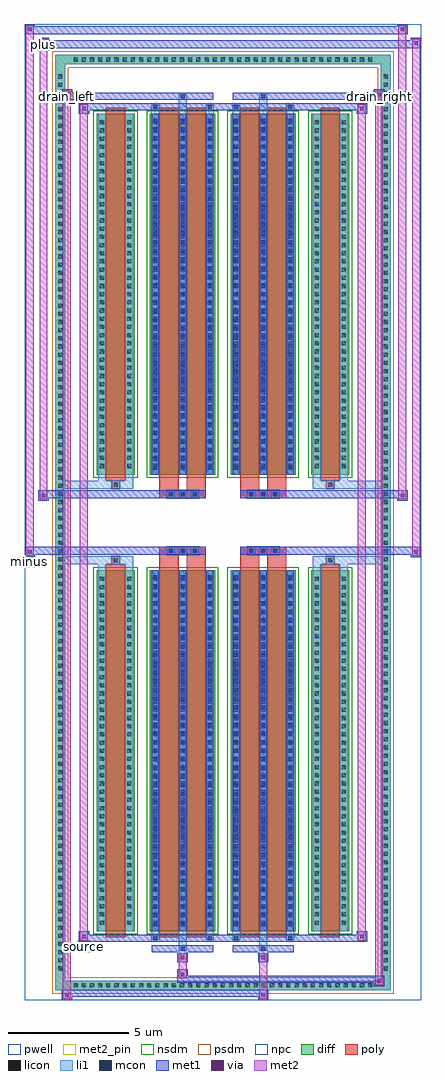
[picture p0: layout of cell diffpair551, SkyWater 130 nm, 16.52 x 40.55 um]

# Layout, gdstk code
import gdstk
lib = gdstk.Library(unit=1e-6, precision=5e-09)
def R(c, l, rs):  # rectangles x0, y0, x1, y1
    for r in rs: c.add(gdstk.rectangle(r[:2], r[2:], *l))
def A(c, l, x, y, w, h, nx, ny, dx, dy):  # array of equal rectangles
    R(c, l, [(x+i*dx, y+j*dy, x+i*dx+w, y+j*dy+h) for i in range(nx) for j in range(ny)])
def P(c, l, *ps):  # polygons
    for p in ps: c.add(gdstk.Polygon(p, *l))
pwell = (64, 44)
diff = (65, 20)
poly = (66, 20)
licon = (66, 44)
li1 = (67, 20)
mcon = (67, 44)
met1 = (68, 20)
via = (68, 44)
met2_pin = (69, 16)
met2 = (69, 20)
nsdm = (93, 44)
psdm = (94, 20)
npc = (95, 20)

diffpair551 = lib.new_cell('diffpair551')
R(diffpair551, pwell, [(-8.24,-19.84,8.24,20.71), (-5.56,-18.03,-0.01,-0.805), (0.01,-18.03,5.56,-0.805), (-5.56,0.805,-0.01,18.03), (0.01,0.805,5.56,18.03)])
A(diffpair551, diff, -6.325, -19.44, 0.41, 0.41, 37, 2, 0.34, 38.47)
A(diffpair551, diff, -6.97, -18.735, 0.41, 0.41, 1, 110, 0, 0.34)
A(diffpair551, diff, 6.56, -18.735, 0.41, 0.41, 1, 110, 0, 0.34)
R(diffpair551, diff, [(-6.325,-19.44,6.325,-19.03), (-6.97,-18.735,-6.56,18.735), (6.56,-18.735,6.97,18.735), (-5.25,-16.985,-3.67,-1.985), (-3.03,-16.985,-0.32,-1.985), (0.32,-16.985,3.03,-1.985), (3.67,-16.985,5.25,-1.985), (-5.25,1.985,-3.67,16.985), (-3.03,1.985,-0.32,16.985), (0.32,1.985,3.03,16.985), (3.67,1.985,5.25,16.985), (-6.325,19.03,6.325,19.44)])
P(diffpair551, diff, [(6.97,19.44),(-6.97,19.44),(-6.97,-19.03),(-6.56,-19.03),(-6.56,19.03),(6.56,19.03),(6.56,-19.03),(-6.56,-19.03),(-6.97,-19.03),(-6.97,-19.44),(6.97,-19.44)])
A(diffpair551, poly, -2.34, -1.335, 0.33, 0.33, 3, 2, 0.5, 2.34)
A(diffpair551, poly, 1.01, -1.335, 0.33, 0.33, 3, 2, 0.5, 2.34)
R(diffpair551, poly, [(-4.86,-17.235,-4.06,-1.735), (-2.64,-17.235,-1.84,-1.735), (-1.51,-17.235,-0.71,-1.735), (0.71,-17.235,1.51,-1.735), (1.84,-17.235,2.64,-1.735), (4.06,-17.235,4.86,-1.735), (-4.625,-1.735,-4.295,-1.405), (-4.625,-1.735,-4.295,-1.405), (-2.64,-1.735,-1.84,-1.335), (-1.51,-1.735,-0.71,-1.335), (0.71,-1.735,1.51,-1.335), (1.84,-1.735,2.64,-1.335), (4.295,-1.735,4.625,-1.405), (4.295,-1.735,4.625,-1.405), (-2.64,-1.335,-0.71,-1.005), (0.71,-1.335,2.64,-1.005), (-2.64,1.005,-0.71,1.335), (0.71,1.005,2.64,1.335), (-2.64,1.335,-1.84,1.735), (-1.51,1.335,-0.71,1.735), (0.71,1.335,1.51,1.735), (1.84,1.335,2.64,1.735), (-4.625,1.405,-4.295,1.735), (-4.625,1.405,-4.295,1.735), (4.295,1.405,4.625,1.735), (4.295,1.405,4.625,1.735), (-4.86,1.735,-4.06,17.235), (-2.64,1.735,-1.84,17.235), (-1.51,1.735,-0.71,17.235), (0.71,1.735,1.51,17.235), (1.84,1.735,2.64,17.235), (4.06,1.735,4.86,17.235)])
A(diffpair551, licon, -6.205, -19.32, 0.17, 0.17, 37, 2, 0.34, 38.47)
A(diffpair551, licon, -6.85, -18.615, 0.17, 0.17, 1, 110, 0, 0.34)
A(diffpair551, licon, 6.68, -18.615, 0.17, 0.17, 1, 110, 0, 0.34)
A(diffpair551, licon, -5.11, -16.71, 0.17, 0.17, 1, 43, 0, 0.34)
A(diffpair551, licon, -3.98, -16.71, 0.17, 0.17, 1, 43, 0, 0.34)
A(diffpair551, licon, -2.89, -16.71, 0.17, 0.17, 3, 43, 1.13, 0.34)
A(diffpair551, licon, 0.46, -16.71, 0.17, 0.17, 3, 43, 1.13, 0.34)
A(diffpair551, licon, 3.81, -16.71, 0.17, 0.17, 1, 43, 0, 0.34)
A(diffpair551, licon, 4.94, -16.71, 0.17, 0.17, 1, 43, 0, 0.34)
A(diffpair551, licon, -2.26, -1.255, 0.17, 0.17, 3, 2, 0.5, 2.34)
A(diffpair551, licon, 1.09, -1.255, 0.17, 0.17, 3, 2, 0.5, 2.34)
A(diffpair551, licon, -5.11, 2.26, 0.17, 0.17, 1, 43, 0, 0.34)
A(diffpair551, licon, -3.98, 2.26, 0.17, 0.17, 1, 43, 0, 0.34)
A(diffpair551, licon, -2.89, 2.26, 0.17, 0.17, 3, 43, 1.13, 0.34)
A(diffpair551, licon, 0.46, 2.26, 0.17, 0.17, 3, 43, 1.13, 0.34)
A(diffpair551, licon, 3.81, 2.26, 0.17, 0.17, 1, 43, 0, 0.34)
A(diffpair551, licon, 4.94, 2.26, 0.17, 0.17, 1, 43, 0, 0.34)
R(diffpair551, licon, [(-4.545,-1.655,-4.375,-1.485), (4.375,-1.655,4.545,-1.485), (-4.545,1.485,-4.375,1.655), (4.375,1.485,4.545,1.655)])
A(diffpair551, li1, -6.285, -19.4, 0.33, 0.33, 37, 2, 0.34, 38.47)
A(diffpair551, li1, -6.93, -18.695, 0.33, 0.33, 1, 110, 0, 0.34)
A(diffpair551, li1, 6.6, -18.695, 0.33, 0.33, 1, 110, 0, 0.34)
A(diffpair551, li1, -2.97, -16.985, 0.33, 15, 3, 2, 1.13, 18.97)
A(diffpair551, li1, 0.38, -16.985, 0.33, 15, 3, 2, 1.13, 18.97)
A(diffpair551, li1, -5.19, -16.79, 0.33, 0.33, 1, 43, 0, 0.34)
A(diffpair551, li1, -4.06, -16.79, 0.33, 0.33, 1, 43, 0, 0.34)
A(diffpair551, li1, -2.97, -16.79, 0.33, 0.33, 3, 43, 1.13, 0.34)
A(diffpair551, li1, 0.38, -16.79, 0.33, 0.33, 3, 43, 1.13, 0.34)
A(diffpair551, li1, 3.73, -16.79, 0.33, 0.33, 1, 43, 0, 0.34)
A(diffpair551, li1, 4.86, -16.79, 0.33, 0.33, 1, 43, 0, 0.34)
A(diffpair551, li1, -2.89, -16.77, 0.17, 0.17, 3, 41, 1.13, 0.36)
A(diffpair551, li1, -2.89, -16.77, 0.17, 14.57, 3, 2, 1.13, 18.97)
A(diffpair551, li1, 0.46, -16.77, 0.17, 0.17, 3, 41, 1.13, 0.36)
A(diffpair551, li1, 0.46, -16.77, 0.17, 14.57, 3, 2, 1.13, 18.97)
A(diffpair551, li1, -2.34, -1.335, 0.33, 0.33, 3, 2, 0.5, 2.34)
A(diffpair551, li1, 1.01, -1.335, 0.33, 0.33, 3, 2, 0.5, 2.34)
A(diffpair551, li1, -5.19, 2.18, 0.33, 0.33, 1, 43, 0, 0.34)
A(diffpair551, li1, -4.06, 2.18, 0.33, 0.33, 1, 43, 0, 0.34)
A(diffpair551, li1, -2.97, 2.18, 0.33, 0.33, 3, 43, 1.13, 0.34)
A(diffpair551, li1, 0.38, 2.18, 0.33, 0.33, 3, 43, 1.13, 0.34)
A(diffpair551, li1, 3.73, 2.18, 0.33, 0.33, 1, 43, 0, 0.34)
A(diffpair551, li1, 4.86, 2.18, 0.33, 0.33, 1, 43, 0, 0.34)
A(diffpair551, li1, -2.89, 2.2, 0.17, 0.17, 3, 41, 1.13, 0.36)
A(diffpair551, li1, 0.46, 2.2, 0.17, 0.17, 3, 41, 1.13, 0.36)
R(diffpair551, li1, [(-6.97,-19.44,-6.56,-19.03), (-6.97,-19.44,-6.56,-19.03), (-6.56,-19.44,6.56,-19.03), (6.56,-19.44,6.97,-19.03), (6.56,-19.44,6.97,-19.03), (-6.97,-19.03,-6.56,19.03), (6.56,-19.03,6.97,19.03), (-1.84,-17.79,-1.51,-16.985), (-1.76,-17.79,-1.59,-17.62), (1.51,-17.79,1.84,-16.985), (1.59,-17.79,1.76,-17.62), (-2.97,-17.36,-2.64,-16.985), (-2.89,-17.36,-2.72,-17.19), (-0.71,-17.36,-0.38,-16.985), (-0.63,-17.36,-0.46,-17.19), (0.38,-17.36,0.71,-16.985), (0.46,-17.36,0.63,-17.19), (2.64,-17.36,2.97,-16.985), (2.72,-17.36,2.89,-17.19), (-5.19,-16.985,-4.86,-1.985), (-4.06,-16.985,-3.73,-1.985), (3.73,-16.985,4.06,-1.985), (4.86,-16.985,5.19,-1.985), (-5.19,-1.985,-4.86,-1.405), (-4.06,-1.985,-3.73,-1.405), (3.73,-1.985,4.06,-1.405), (4.86,-1.985,5.19,-1.405), (-6.97,-1.735,-4.625,-1.405), (-5.19,-1.735,-4.625,-1.405), (-4.625,-1.735,-4.295,-1.405), (-4.295,-1.735,-3.73,-1.405), (3.73,-1.735,4.295,-1.405), (4.295,-1.735,4.625,-1.405), (4.295,-1.735,6.97,-1.405), (4.625,-1.735,5.19,-1.405), (-6.97,1.405,-4.625,1.735), (-5.19,1.405,-4.625,1.735), (-5.19,1.405,-4.86,1.985), (-4.625,1.405,-4.295,1.735), (-4.295,1.405,-3.73,1.735), (-4.06,1.405,-3.73,1.985), (3.73,1.405,4.295,1.735), (3.73,1.405,4.06,1.985), (4.295,1.405,4.625,1.735), (4.295,1.405,6.97,1.735), (4.625,1.405,5.19,1.735), (4.86,1.405,5.19,1.985), (-5.19,1.985,-4.86,16.985), (-4.06,1.985,-3.73,16.985), (3.73,1.985,4.06,16.985), (4.86,1.985,5.19,16.985), (-2.97,16.985,-2.64,17.36), (-1.84,16.985,-1.51,17.79), (-0.71,16.985,-0.38,17.36), (0.38,16.985,0.71,17.36), (1.51,16.985,1.84,17.79), (2.64,16.985,2.97,17.36), (-2.89,17.19,-2.72,17.36), (-0.63,17.19,-0.46,17.36), (0.46,17.19,0.63,17.36), (2.72,17.19,2.89,17.36), (-1.76,17.62,-1.59,17.79), (1.59,17.62,1.76,17.79), (-6.97,19.03,-6.56,19.44), (-6.97,19.03,-6.56,19.44), (-6.56,19.03,6.56,19.44), (6.56,19.03,6.97,19.44), (6.56,19.03,6.97,19.44)])
A(diffpair551, mcon, -2.89, -16.77, 0.17, 0.17, 3, 41, 1.13, 0.36)
A(diffpair551, mcon, 0.46, -16.77, 0.17, 0.17, 3, 41, 1.13, 0.36)
A(diffpair551, mcon, -2.26, -1.255, 0.17, 0.17, 3, 2, 0.5, 2.34)
A(diffpair551, mcon, 1.09, -1.255, 0.17, 0.17, 3, 2, 0.5, 2.34)
A(diffpair551, mcon, -2.89, 2.2, 0.17, 0.17, 3, 41, 1.13, 0.36)
A(diffpair551, mcon, 0.46, 2.2, 0.17, 0.17, 3, 41, 1.13, 0.36)
R(diffpair551, mcon, [(-1.76,-17.79,-1.59,-17.62), (1.59,-17.79,1.76,-17.62), (-2.89,-17.36,-2.72,-17.19), (-0.63,-17.36,-0.46,-17.19), (0.46,-17.36,0.63,-17.19), (2.72,-17.36,2.89,-17.19), (-2.89,17.19,-2.72,17.36), (-0.63,17.19,-0.46,17.36), (0.46,17.19,0.63,17.36), (2.72,17.19,2.89,17.36), (-1.76,17.62,-1.59,17.79), (1.59,17.62,1.76,17.79)])
A(diffpair551, met1, -2.95, -16.985, 0.29, 15, 3, 2, 1.13, 18.97)
A(diffpair551, met1, 0.4, -16.985, 0.29, 15, 3, 2, 1.13, 18.97)
A(diffpair551, met1, -2.95, -16.83, 0.29, 0.29, 3, 41, 1.13, 0.36)
A(diffpair551, met1, 0.4, -16.83, 0.29, 0.29, 3, 41, 1.13, 0.36)
A(diffpair551, met1, -2.32, -1.315, 0.29, 0.29, 3, 2, 0.5, 2.34)
A(diffpair551, met1, 1.03, -1.315, 0.29, 0.29, 3, 2, 0.5, 2.34)
A(diffpair551, met1, -2.95, 2.14, 0.29, 0.29, 3, 41, 1.13, 0.36)
A(diffpair551, met1, 0.4, 2.14, 0.29, 0.29, 3, 41, 1.13, 0.36)
R(diffpair551, met1, [(-6.7,-19.84,-6.27,-19.41), (1.46,-19.84,1.89,-19.41), (-6.7,-19.7,1.89,-19.41), (6.27,-19.27,6.7,-18.84), (-1.89,-19.13,6.7,-18.84), (-1.89,-18.99,-1.46,-18.56), (-1.89,-18.28,-1.46,-17.85), (1.46,-18.28,1.89,-17.85), (-2.95,-17.85,-0.4,-17.56), (-1.82,-17.85,-1.53,-17.56), (0.4,-17.85,2.95,-17.56), (1.53,-17.85,1.82,-17.56), (-5.99,-17.42,-5.56,-16.99), (-5.99,-17.42,-2.95,-17.13), (-2.95,-17.42,-2.66,-17.13), (-2.95,-17.42,-0.4,-17.13), (-0.69,-17.42,-0.4,-17.13), (-0.4,-17.42,0.4,-17.13), (0.4,-17.42,0.69,-17.13), (0.4,-17.42,2.95,-17.13), (2.66,-17.42,2.95,-17.13), (2.95,-17.42,5.99,-17.13), (5.56,-17.42,5.99,-16.99), (-8.24,-1.435,-7.81,-1.005), (7.81,-1.435,8.24,-1.005), (-8.24,-1.335,-0.71,-1.005), (-2.64,-1.335,-0.71,-1.005), (0.71,-1.335,2.64,-1.005), (0.71,-1.335,8.24,-1.005), (-7.67,0.905,-7.24,1.335), (7.24,0.905,7.67,1.335), (-7.67,1.005,-2.64,1.335), (-2.64,1.005,-0.71,1.335), (0.71,1.005,2.64,1.335), (2.64,1.005,7.67,1.335), (-5.99,16.99,-5.56,17.42), (5.56,16.99,5.99,17.42), (-5.99,17.13,-2.95,17.42), (-2.95,17.13,-2.66,17.42), (-2.95,17.13,-0.4,17.42), (-0.69,17.13,-0.4,17.42), (-0.4,17.13,0.4,17.42), (0.4,17.13,0.69,17.42), (0.4,17.13,2.95,17.42), (2.66,17.13,2.95,17.42), (2.95,17.13,5.99,17.42), (-6.7,17.56,-6.27,17.99), (-6.7,17.56,-2.95,17.85), (-2.95,17.56,-0.4,17.85), (-1.82,17.56,-1.53,17.85), (0.4,17.56,2.95,17.85), (1.53,17.56,1.82,17.85), (2.95,17.56,6.7,17.85), (6.27,17.56,6.7,17.99), (-7.67,19.71,-7.24,20.14), (-7.67,19.71,-5.56,20.04), (-5.56,19.71,5.56,20.04), (5.56,19.71,8.24,20.04), (7.81,19.71,8.24,20.14), (-8.24,20.28,-7.81,20.71), (-8.24,20.28,-5.56,20.61), (-5.56,20.28,5.56,20.61), (5.56,20.28,7.67,20.61), (7.24,20.28,7.67,20.71)])
R(diffpair551, via, [(-6.56,-19.7,-6.41,-19.55), (1.6,-19.7,1.75,-19.55), (6.41,-19.13,6.56,-18.98), (-1.75,-18.85,-1.6,-18.7), (-1.75,-18.14,-1.6,-17.99), (1.6,-18.14,1.75,-17.99), (-5.85,-17.28,-5.7,-17.13), (5.7,-17.28,5.85,-17.13), (-8.1,-1.295,-7.95,-1.145), (7.95,-1.295,8.1,-1.145), (-7.53,1.045,-7.38,1.195), (7.38,1.045,7.53,1.195), (-5.85,17.13,-5.7,17.28), (5.7,17.13,5.85,17.28), (-6.56,17.7,-6.41,17.85), (6.41,17.7,6.56,17.85), (-7.53,19.85,-7.38,20), (7.95,19.85,8.1,20), (-8.1,20.42,-7.95,20.57), (7.38,20.42,7.53,20.57)])
R(diffpair551, met2_pin, [(-6.025,-17.87,-5.525,-17.37), (-8.275,-1.885,-7.775,-1.385), (-6.735,17.44,-6.235,17.94), (6.235,17.44,6.735,17.94), (-7.705,19.59,-7.205,20.09)])
R(diffpair551, met2, [(-6.65,-19.79,-6.32,-19.46), (-6.65,-19.79,-6.32,17.94), (1.51,-19.79,1.84,-19.46), (1.51,-19.46,1.84,-18.23), (6.32,-19.22,6.65,-18.89), (6.32,-19.22,6.65,17.94), (-1.84,-18.94,-1.51,-18.61), (-1.84,-18.61,-1.51,-18.23), (-1.84,-18.23,-1.51,-17.9), (1.51,-18.23,1.84,-17.9), (-5.94,-17.37,-5.61,-17.04), (-5.94,-17.37,-5.61,17.37), (5.61,-17.37,5.94,-17.04), (5.61,-17.37,5.94,17.37), (-8.19,-1.385,-7.86,-1.055), (-8.19,-1.385,-7.86,20.66), (7.86,-1.385,8.19,-1.055), (7.86,-1.385,8.19,20.09), (-7.62,0.955,-7.29,1.285), (-7.62,0.955,-7.29,20.09), (7.29,0.955,7.62,1.285), (7.29,0.955,7.62,20.66), (-5.94,17.04,-5.61,17.37), (5.61,17.04,5.94,17.37), (-6.65,17.61,-6.32,17.94), (6.32,17.61,6.65,17.94), (-7.62,19.76,-7.29,20.09), (7.86,19.76,8.19,20.09), (-8.19,20.33,-7.86,20.66), (7.29,20.33,7.62,20.66)])
P(diffpair551, met2, [(8.19,-1.385),(8.19,-1.385),(8.19,-1.055),(8.19,-1.055)],
  [(8.19,19.76),(8.19,19.76),(8.19,20.09),(8.19,20.09)],
  [(-7.86,-1.385),(-7.86,-1.385),(-7.86,-1.055),(-7.86,-1.055)],
  [(-7.86,20.33),(-7.86,20.33),(-7.86,20.66),(-7.86,20.66)],
  [(7.62,0.955),(7.62,0.955),(7.62,1.285),(7.62,1.285)],
  [(7.62,20.33),(7.62,20.33),(7.62,20.66),(7.62,20.66)],
  [(-7.29,0.955),(-7.29,0.955),(-7.29,1.285),(-7.29,1.285)],
  [(-7.29,19.76),(-7.29,19.76),(-7.29,20.09),(-7.29,20.09)],
  [(-6.32,-19.79),(-6.32,-19.79),(-6.32,-19.46),(-6.32,-19.46)],
  [(-6.32,17.61),(-6.32,17.61),(-6.32,17.94),(-6.32,17.94)],
  [(6.65,-19.22),(6.65,-19.22),(6.65,-18.89),(6.65,-18.89)],
  [(6.65,17.61),(6.65,17.61),(6.65,17.94),(6.65,17.94)],
  [(-5.61,-17.37),(-5.61,-17.37),(-5.61,-17.04),(-5.61,-17.04)],
  [(-5.61,17.04),(-5.61,17.04),(-5.61,17.37),(-5.61,17.37)],
  [(5.94,-17.37),(5.94,-17.37),(5.94,-17.04),(5.94,-17.04)],
  [(5.94,17.04),(5.94,17.04),(5.94,17.37),(5.94,17.37)])
R(diffpair551, nsdm, [(-5.38,-17.115,-3.54,-1.855), (-3.16,-17.115,-0.19,-1.855), (0.19,-17.115,3.16,-1.855), (3.54,-17.115,5.38,-1.855), (-5.38,1.855,-3.54,17.115), (-3.16,1.855,-0.19,17.115), (0.19,1.855,3.16,17.115), (3.54,1.855,5.38,17.115)])
P(diffpair551, psdm, [(7.1,19.57),(-7.1,19.57),(-7.1,-18.9),(-6.43,-18.9),(-6.43,18.9),(6.43,18.9),(6.43,-18.9),(-6.43,-18.9),(-7.1,-18.9),(-7.1,-19.57),(7.1,-19.57)])
A(diffpair551, npc, -2.36, -1.355, 0.37, 0.37, 3, 2, 0.5, 2.34)
A(diffpair551, npc, 0.99, -1.355, 0.37, 0.37, 3, 2, 0.5, 2.34)
R(diffpair551, npc, [(-4.645,-1.755,-4.275,-1.385), (4.275,-1.755,4.645,-1.385), (-2.36,-1.355,-1.49,-0.985), (-2.36,-1.355,-1.49,-0.985), (-1.86,-1.355,-0.99,-0.985), (-1.86,-1.355,-0.99,-0.985), (0.99,-1.355,1.86,-0.985), (0.99,-1.355,1.86,-0.985), (1.49,-1.355,2.36,-0.985), (1.49,-1.355,2.36,-0.985), (-2.36,0.985,-1.49,1.355), (-2.36,0.985,-1.49,1.355), (-1.86,0.985,-0.99,1.355), (-1.86,0.985,-0.99,1.355), (0.99,0.985,1.86,1.355), (0.99,0.985,1.86,1.355), (1.49,0.985,2.36,1.355), (1.49,0.985,2.36,1.355), (-4.645,1.385,-4.275,1.755), (4.275,1.385,4.645,1.755)])
diffpair551.add(gdstk.Label('minus', (-8.025,-1.635), layer=69, texttype=5))
diffpair551.add(gdstk.Label('drain_right', (6.485,17.69), layer=69, texttype=5))
diffpair551.add(gdstk.Label('drain_left', (-6.485,17.69), layer=69, texttype=5))
diffpair551.add(gdstk.Label('source', (-5.775,-17.62), layer=69, texttype=5))
diffpair551.add(gdstk.Label('plus', (-7.455,19.84), layer=69, texttype=5))

lib.write_gds('diffpair551.gds')
